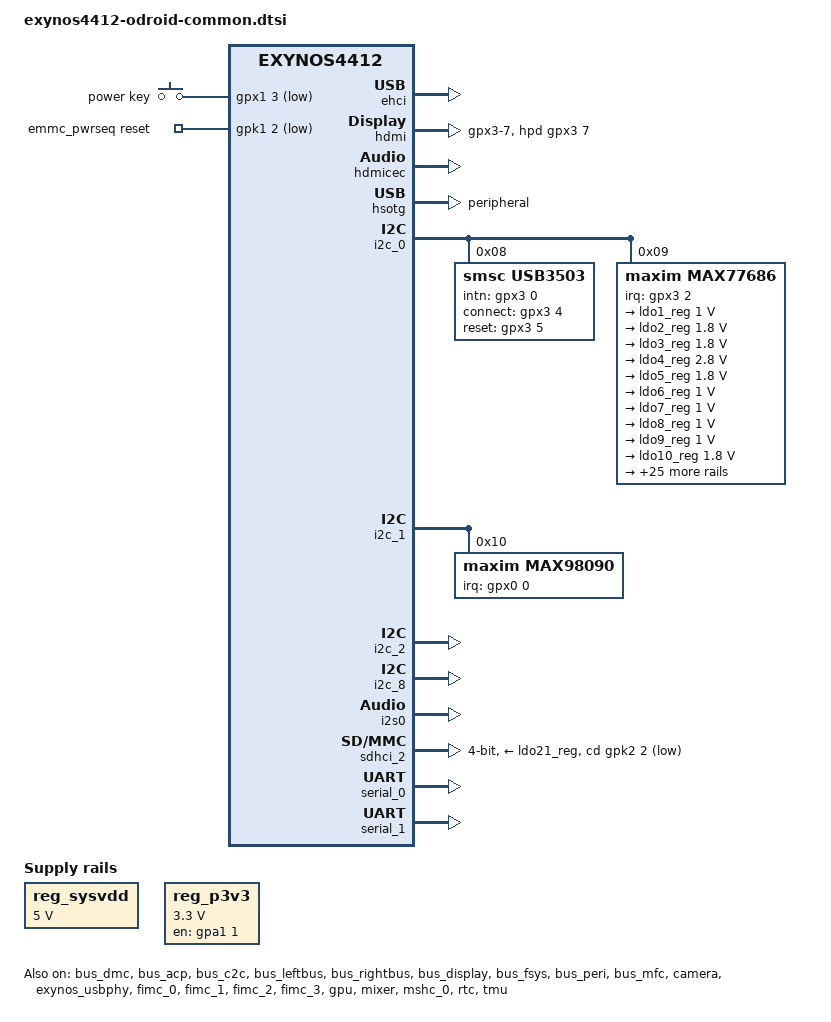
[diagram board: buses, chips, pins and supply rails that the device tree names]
// SPDX-License-Identifier: GPL-2.0
/*
 * Common definition for Hardkernel's Exynos4412 based ODROID-X/X2/U2/U3 boards
 * device tree source
*/

#include <dt-bindings/sound/samsung-i2s.h>
#include <dt-bindings/input/input.h>
#include <dt-bindings/clock/maxim,max77686.h>
#include "exynos4412.dtsi"
#include "exynos4412-ppmu-common.dtsi"
#include <dt-bindings/gpio/gpio.h>
#include "exynos-mfc-reserved-memory.dtsi"

/ {
	chosen {
		stdout-path = &serial_1;
	};

	firmware@204f000 {
		compatible = "samsung,secure-firmware";
		reg = <0x0204F000 0x1000>;
	};

	gpio_keys {
		compatible = "gpio-keys";
		pinctrl-names = "default";
		pinctrl-0 = <&gpio_power_key>;

		power_key {
			gpios = <&gpx1 3 GPIO_ACTIVE_LOW>;
			linux,code = <KEY_POWER>;
			label = "power key";
			debounce-interval = <10>;
			wakeup-source;
		};
	};

	regulators {
		compatible = "simple-bus";
		#address-cells = <1>;
		#size-cells = <0>;

		reg_sysvdd: regulator@0 {
			compatible = "regulator-fixed";
			reg = <0x0>;
			regulator-name = "sysvdd";
			regulator-min-microvolt = <5000000>;
			regulator-max-microvolt = <5000000>;
			regulator-always-on;
			regulator-boot-on;
		};

		reg_p3v3: regulator@1 {
			compatible = "regulator-fixed";
			reg = <0x1>;
			regulator-name = "p3v3";
			regulator-min-microvolt = <3300000>;
			regulator-max-microvolt = <3300000>;
			gpio = <&gpa1 1 GPIO_ACTIVE_HIGH>;
			enable-active-high;
			regulator-always-on;
		};
	};

	sound: sound {
		compatible = "hardkernel,odroid-xu4-audio";

		cpu {
			sound-dai = <&i2s0 0>;
		};

		codec {
			sound-dai = <&hdmi>, <&max98090>;
		};
	};

	emmc_pwrseq: pwrseq {
		pinctrl-0 = <&emmc_rstn>;
		pinctrl-names = "default";
		compatible = "mmc-pwrseq-emmc";
		reset-gpios = <&gpk1 2 GPIO_ACTIVE_LOW>;
	};

	fixed-rate-clocks {
		xxti {
			compatible = "samsung,clock-xxti";
			clock-frequency = <0>;
		};

		xusbxti {
			compatible = "samsung,clock-xusbxti";
			clock-frequency = <24000000>;
		};
	};

	thermal-zones {
		cpu_thermal: cpu-thermal {
			cooling-maps {
				cooling_map0: map0 {
				     /* Corresponds to 800MHz at freq_table */
				     cooling-device = <&cpu0 7 7>, <&cpu1 7 7>,
						      <&cpu2 7 7>, <&cpu3 7 7>;
				};
				cooling_map1: map1 {
				     /* Corresponds to 200MHz at freq_table */
				     cooling-device = <&cpu0 13 13>,
						      <&cpu1 13 13>,
						      <&cpu2 13 13>,
						      <&cpu3 13 13>;
			       };
		       };
		};
	};
};

&bus_dmc {
	devfreq-events = <&ppmu_dmc0_3>, <&ppmu_dmc1_3>;
	vdd-supply = <&buck1_reg>;
	status = "okay";
};

&bus_acp {
	devfreq = <&bus_dmc>;
	status = "okay";
};

&bus_c2c {
	devfreq = <&bus_dmc>;
	status = "okay";
};

&bus_leftbus {
	devfreq-events = <&ppmu_leftbus_3>, <&ppmu_rightbus_3>;
	vdd-supply = <&buck3_reg>;
	status = "okay";
};

&bus_rightbus {
	devfreq = <&bus_leftbus>;
	status = "okay";
};

&bus_display {
	devfreq = <&bus_leftbus>;
	status = "okay";
};

&bus_fsys {
	devfreq = <&bus_leftbus>;
	status = "okay";
};

&bus_peri {
	devfreq = <&bus_leftbus>;
	status = "okay";
};

&bus_mfc {
	devfreq = <&bus_leftbus>;
	status = "okay";
};

&camera {
	status = "okay";
	pinctrl-names = "default";
	pinctrl-0 = <>;
};

&clock {
	assigned-clocks = <&clock CLK_FOUT_EPLL>;
	assigned-clock-rates = <45158401>;
};

&clock_audss {
	assigned-clocks = <&clock_audss EXYNOS_MOUT_AUDSS>,
			<&clock_audss EXYNOS_MOUT_I2S>,
			<&clock_audss EXYNOS_DOUT_SRP>,
			<&clock_audss EXYNOS_DOUT_AUD_BUS>,
			<&clock_audss EXYNOS_DOUT_I2S>;

	assigned-clock-parents = <&clock CLK_FOUT_EPLL>,
			  <&clock_audss EXYNOS_MOUT_AUDSS>;

	assigned-clock-rates = <0>, <0>,
			<196608001>,
			<(196608001 / 2)>,
			<(196608001 / 8)>;
};

&cpu0 {
	cpu0-supply = <&buck2_reg>;
};

&pinctrl_1 {
	gpio_power_key: power_key {
		samsung,pins = "gpx1-3";
		samsung,pin-pud = <EXYNOS_PIN_PULL_NONE>;
	};

	max77686_irq: max77686-irq {
		samsung,pins = "gpx3-2";
		samsung,pin-function = <EXYNOS_PIN_FUNC_INPUT>;
		samsung,pin-pud = <EXYNOS_PIN_PULL_NONE>;
		samsung,pin-drv = <EXYNOS4_PIN_DRV_LV1>;
	};

	hdmi_hpd: hdmi-hpd {
		samsung,pins = "gpx3-7";
		samsung,pin-pud = <EXYNOS_PIN_PULL_DOWN>;
	};

	emmc_rstn: emmc-rstn {
		samsung,pins = "gpk1-2";
		samsung,pin-pud = <EXYNOS_PIN_PULL_NONE>;
	};
};

&ehci {
	status = "okay";
};

&exynos_usbphy {
	status = "okay";
};

&fimc_0 {
	status = "okay";
	assigned-clocks = <&clock CLK_MOUT_FIMC0>,
			<&clock CLK_SCLK_FIMC0>;
	assigned-clock-parents = <&clock CLK_MOUT_MPLL_USER_T>;
	assigned-clock-rates = <0>, <176000000>;
};

&fimc_1 {
	status = "okay";
	assigned-clocks = <&clock CLK_MOUT_FIMC1>,
			<&clock CLK_SCLK_FIMC1>;
	assigned-clock-parents = <&clock CLK_MOUT_MPLL_USER_T>;
	assigned-clock-rates = <0>, <176000000>;
};

&fimc_2 {
	status = "okay";
	assigned-clocks = <&clock CLK_MOUT_FIMC2>,
			<&clock CLK_SCLK_FIMC2>;
	assigned-clock-parents = <&clock CLK_MOUT_MPLL_USER_T>;
	assigned-clock-rates = <0>, <176000000>;
};

&fimc_3 {
	status = "okay";
	assigned-clocks = <&clock CLK_MOUT_FIMC3>,
			<&clock CLK_SCLK_FIMC3>;
	assigned-clock-parents = <&clock CLK_MOUT_MPLL_USER_T>;
	assigned-clock-rates = <0>, <176000000>;
};

&g2d {
	/* Clock the engine with 400MHz. */
	assigned-clocks = <&clock CLK_SCLK_FIMG2D>;
	assigned-clock-rates = <400000000>;
};

&gpu {
	mali-supply = <&buck4_reg>;
	status = "okay";

	regulator-microvolt-offset = <50000>;
	regulator-microsecs-delay = <50>;
};

&hdmi {
	hpd-gpios = <&gpx3 7 GPIO_ACTIVE_HIGH>;
	pinctrl-names = "default";
	pinctrl-0 = <&hdmi_hpd>;
	vdd-supply = <&ldo8_reg>;
	vdd_osc-supply = <&ldo10_reg>;
	vdd_pll-supply = <&ldo8_reg>;
	ddc = <&i2c_2>;
	status = "okay";
};

&hdmicec {
	status = "okay";
};

&hsotg {
	dr_mode = "peripheral";
	status = "okay";
	vusb_d-supply = <&ldo15_reg>;
	vusb_a-supply = <&ldo12_reg>;
};

&i2c_0 {
	samsung,i2c-slave-addr = <0x10>;
	samsung,i2c-sda-delay = <100>;
	samsung,i2c-max-bus-freq = <400000>;
	status = "okay";

	usb3503: usb3503@8 {
		compatible = "smsc,usb3503";
		reg = <0x08>;

		intn-gpios = <&gpx3 0 GPIO_ACTIVE_HIGH>;
		connect-gpios = <&gpx3 4 GPIO_ACTIVE_HIGH>;
		reset-gpios = <&gpx3 5 GPIO_ACTIVE_HIGH>;
		initial-mode = <1>;
		usb3503-gpio-waittime = <100>;
	};

	max77686: pmic@9 {
		compatible = "maxim,max77686";
		interrupt-parent = <&gpx3>;
		interrupts = <2 IRQ_TYPE_NONE>;
		pinctrl-names = "default";
		pinctrl-0 = <&max77686_irq>;
		reg = <0x09>;
		#clock-cells = <1>;

		voltage-regulators {
			ldo1_reg: LDO1 {
				regulator-name = "vdd_alive_1.0V";
				regulator-min-microvolt = <1000000>;
				regulator-max-microvolt = <1000000>;
				regulator-always-on;
				LDO1-supply = <&buck6_reg>;
			};

			ldo2_reg: LDO2 {
				regulator-name = "vddq_m1_m2_1.8V";
				regulator-min-microvolt = <1800000>;
				regulator-max-microvolt = <1800000>;
				regulator-always-on;
			};

			/* This regulator also supplies:            *
			 * vddq_sbus, vddq_sys02, vddq_aud and more */
			ldo3_reg: LDO3 {
				regulator-name = "vddq_ext_1.8V";
				regulator-min-microvolt = <1800000>;
				regulator-max-microvolt = <1800000>;
				regulator-always-on;
				LDO3-supply = <&buck7_reg>;
			};

			/* Supply for IO of SDHC. */
			ldo4_reg: LDO4 {
				regulator-name = "vddq_mmc2_2.8V";
				regulator-min-microvolt = <2800000>;
				regulator-max-microvolt = <2800000>;
				regulator-boot-on;
				LDO4-supply = <&reg_sysvdd>;
			};

			/* The LDO5 regulator provides reference voltage for the whole MMC *
			 * subsystem (both SDHC and eMMC), so leave it always enabled.     */
			ldo5_reg: LDO5 {
				regulator-name = "vddq_mmc1_mmc3_1.8V";
				regulator-min-microvolt = <1800000>;
				regulator-max-microvolt = <1800000>;
				regulator-always-on;
				regulator-boot-on;
				LDO5-supply = <&buck7_reg>;
			};

			ldo6_reg: LDO6 {
				regulator-name = "vdd_mpll_1.0V";
				regulator-min-microvolt = <1000000>;
				regulator-max-microvolt = <1000000>;
				regulator-always-on;
				LDO6-supply = <&buck6_reg>;
			};

			ldo7_reg: LDO7 {
				regulator-name = "vdd_epll_1.0V";
				regulator-min-microvolt = <1000000>;
				regulator-max-microvolt = <1000000>;
				regulator-always-on;
				LDO7-supply = <&buck6_reg>;
			};

			ldo8_reg: LDO8 {
				regulator-name = "vdd_hdmi_1.0V";
				regulator-min-microvolt = <1000000>;
				regulator-max-microvolt = <1000000>;
				LDO8-supply = <&buck6_reg>;
			};

			ldo9_reg: LDO9 {
				regulator-name = "vt_core_1.0V";
				regulator-min-microvolt = <1000000>;
				regulator-max-microvolt = <1000000>;
				regulator-always-on;
				LDO9-supply = <&buck7_reg>;
			};

			/* This regulator also supplies the TMU block. */
			ldo10_reg: LDO10 {
				regulator-name = "vddq_mipihsi_1.8V";
				regulator-min-microvolt = <1800000>;
				regulator-max-microvolt = <1800000>;
				LDO10-supply = <&buck7_reg>;
			};

			ldo11_reg: LDO11 {
				regulator-name = "vdd_abb1_1.8V";
				regulator-min-microvolt = <1800000>;
				regulator-max-microvolt = <1800000>;
				regulator-always-on;
				LDO11-supply = <&buck7_reg>;
			};

			ldo12_reg: LDO12 {
				regulator-name = "vdd_usb_otg_3.3V";
				regulator-min-microvolt = <3300000>;
				regulator-max-microvolt = <3300000>;
				regulator-always-on;
				regulator-boot-on;
				LDO12-supply = <&reg_sysvdd>;
			};

			ldo13_reg: LDO13 {
				regulator-name = "vddq_c2c_w_1.8V";
				regulator-min-microvolt = <1800000>;
				regulator-max-microvolt = <1800000>;
				regulator-always-on;
				regulator-boot-on;
				LDO13-supply = <&buck7_reg>;
			};

			ldo14_reg: LDO14 {
				regulator-name = "vdd_abb0_abb2_1.8V";
				regulator-min-microvolt = <1800000>;
				regulator-max-microvolt = <1800000>;
				regulator-always-on;
				regulator-boot-on;
				LDO14-supply = <&buck7_reg>;
			};

			ldo15_reg: LDO15 {
				regulator-name = "vdd_otg_hsic_1.0V";
				regulator-min-microvolt = <1000000>;
				regulator-max-microvolt = <1000000>;
				regulator-always-on;
				regulator-boot-on;
				LDO15-supply = <&buck6_reg>;
			};

			ldo16_reg: LDO16 {
				regulator-name = "vdd_hsic_1.8V";
				regulator-min-microvolt = <1800000>;
				regulator-max-microvolt = <1800000>;
				regulator-always-on;
				regulator-boot-on;
				LDO16-supply = <&buck7_reg>;
			};

			ldo17_reg: LDO17 {
				regulator-name = "vddq_cam_1.8V";
				regulator-min-microvolt = <1800000>;
				regulator-max-microvolt = <1800000>;
				LDO17-supply = <&buck7_reg>;
			};

			ldo18_reg: LDO18 {
				regulator-name = "vddq_isp_1.8V";
				regulator-min-microvolt = <1800000>;
				regulator-max-microvolt = <1800000>;
				regulator-always-on;
				LDO18-supply = <&buck7_reg>;
			};

			ldo19_reg: LDO19 {
				regulator-name = "vt_cam_1.8V";
				regulator-min-microvolt = <1800000>;
				regulator-max-microvolt = <1800000>;
				LDO19-supply = <&buck7_reg>;
			};

			/* Supply for IO of eMMC. */
			ldo20_reg: LDO20 {
				regulator-name = "vddq_emmc_1.8V";
				regulator-min-microvolt = <1800000>;
				regulator-max-microvolt = <3000000>;
				LDO20-supply = <&buck7_reg>;
			};

			/* Supply for core of SDHC. */
			ldo21_reg: LDO21 {
				regulator-name = "tflash_2.8V";
				regulator-min-microvolt = <2800000>;
				regulator-max-microvolt = <2800000>;
				regulator-boot-on;
				LDO21-supply = <&reg_sysvdd>;
			};

			ldo22_reg: LDO22 {
				/*
				 * Only U3 uses it, so let it define the
				 * constraints
				 */
				regulator-name = "LDO22";
				regulator-boot-on;
				LDO22-supply = <&reg_sysvdd>;
			};

			ldo23_reg: LDO23 {
				regulator-name = "vdd_touch_2.8V";
				regulator-min-microvolt = <2800000>;
				regulator-max-microvolt = <2800000>;
				LDO23-supply = <&reg_sysvdd>;
			};

			ldo24_reg: LDO24 {
				regulator-name = "vdd_touchled_3.3V";
				regulator-min-microvolt = <3300000>;
				regulator-max-microvolt = <3300000>;
				LDO24-supply = <&reg_sysvdd>;
			};

			ldo25_reg: LDO25 {
				regulator-name = "vddq_lcd_1.8V";
				regulator-min-microvolt = <1800000>;
				regulator-max-microvolt = <1800000>;
				regulator-always-on;
				regulator-boot-on;
				LDO25-supply = <&reg_sysvdd>;
			};

			ldo26_reg: LDO26 {
				regulator-name = "vdd_motor_3.0V";
				regulator-min-microvolt = <3000000>;
				regulator-max-microvolt = <3000000>;
			};

			buck1_reg: BUCK1 {
				regulator-name = "vdd_mif";
				regulator-min-microvolt = <900000>;
				regulator-max-microvolt = <1100000>;
				regulator-always-on;
				regulator-boot-on;
				BUCK1-supply = <&reg_sysvdd>;
			};

			buck2_reg: BUCK2 {
				regulator-name = "vdd_arm";
				regulator-min-microvolt = <900000>;
				regulator-max-microvolt = <1400000>;
				regulator-always-on;
				regulator-boot-on;
				BUCK2-supply = <&reg_sysvdd>;
			};

			buck3_reg: BUCK3 {
				regulator-name = "vdd_int";
				regulator-min-microvolt = <900000>;
				regulator-max-microvolt = <1150000>;
				regulator-always-on;
				regulator-boot-on;
				BUCK3-supply = <&reg_sysvdd>;
			};

			buck4_reg: BUCK4 {
				regulator-name = "vdd_g3d";
				regulator-min-microvolt = <850000>;
				regulator-max-microvolt = <1200000>;
				regulator-microvolt-offset = <50000>;
				BUCK4-supply = <&reg_sysvdd>;
			};

			/* This regulator also supplies:            *
			 * vddq_ckem2, vddq_e{1,2} and vddca_e{1,2} */
			buck5_reg: BUCK5 {
				regulator-name = "vddq_ckem1_1.2V";
				regulator-min-microvolt = <1200000>;
				regulator-max-microvolt = <1200000>;
				regulator-always-on;
				regulator-boot-on;
				BUCK5-supply = <&reg_sysvdd>;
			};

			/* Input to LDO: 1, 6, 7, 8 and 15 */
			buck6_reg: BUCK6 {
				regulator-name = "input_ldo_1.35V";
				regulator-min-microvolt = <1350000>;
				regulator-max-microvolt = <1350000>;
				regulator-always-on;
				regulator-boot-on;
				BUCK6-supply = <&reg_sysvdd>;
			};

			/* Input to LDO: 3, 5, 9, 11 and 17~20 */
			buck7_reg: BUCK7 {
				regulator-name = "input_ldo_2.0V";
				regulator-min-microvolt = <2000000>;
				regulator-max-microvolt = <2000000>;
				regulator-always-on;
				BUCK7-supply = <&reg_sysvdd>;
			};

			buck8_reg: BUCK8 {
				/*
				 * Constraints set by specific board: X,
				 * X2 and U3.
				 */
				regulator-name = "BUCK8_2.8V";
				BUCK8-supply = <&reg_sysvdd &reg_p3v3>;
			};

			buck9_reg: BUCK9 {
				regulator-name = "io_1.2V";
				regulator-min-microvolt = <1200000>;
				regulator-max-microvolt = <1200000>;
				regulator-always-on;
				BUCK9-supply = <&reg_sysvdd>;
			};
		};
	};
};

&i2c_1 {
	status = "okay";

	samsung,i2c-slave-addr = <0x10>;
	samsung,i2c-sda-delay = <100>;
	samsung,i2c-max-bus-freq = <400000>;

	max98090: max98090@10 {
		compatible = "maxim,max98090";
		reg = <0x10>;
		interrupt-parent = <&gpx0>;
		interrupts = <0 IRQ_TYPE_NONE>;
		clocks = <&i2s0 CLK_I2S_CDCLK>;
		clock-names = "mclk";
		#sound-dai-cells = <0>;
	};
};

&i2c_2 {
	status = "okay";
};

&i2c_8 {
	status = "okay";
};

&i2s0 {
	pinctrl-0 = <&i2s0_bus>;
	pinctrl-names = "default";
	status = "okay";
	assigned-clocks = <&i2s0 CLK_I2S_RCLK_SRC>;
	assigned-clock-parents = <&clock_audss EXYNOS_SCLK_I2S>;
};

&mixer {
	status = "okay";
};

&mshc_0 {
	pinctrl-0 = <&sd4_clk &sd4_cmd &sd4_bus4 &sd4_bus8>;
	pinctrl-names = "default";
	vmmc-supply = <&ldo20_reg>;
	mmc-pwrseq = <&emmc_pwrseq>;
	status = "okay";

	broken-cd;
	card-detect-delay = <200>;
	samsung,dw-mshc-ciu-div = <3>;
	samsung,dw-mshc-sdr-timing = <2 3>;
	samsung,dw-mshc-ddr-timing = <1 2>;
	bus-width = <8>;
	cap-mmc-highspeed;
};

&rtc {
	status = "okay";
	clocks = <&clock CLK_RTC>, <&max77686 MAX77686_CLK_AP>;
	clock-names = "rtc", "rtc_src";
};

&sdhci_2 {
	bus-width = <4>;
	pinctrl-0 = <&sd2_clk &sd2_cmd &sd2_cd &sd2_bus4>;
	pinctrl-names = "default";
	vmmc-supply = <&ldo21_reg>;
	vqmmc-supply = <&ldo4_reg>;
	cd-gpios = <&gpk2 2 GPIO_ACTIVE_LOW>;
	status = "okay";
};

&serial_0 {
	status = "okay";
};

&serial_1 {
	status = "okay";
};

&tmu {
	vtmu-supply = <&ldo10_reg>;
	status = "okay";
};

&reboot {
	vdd-supply = <&reg_p3v3>;
};
